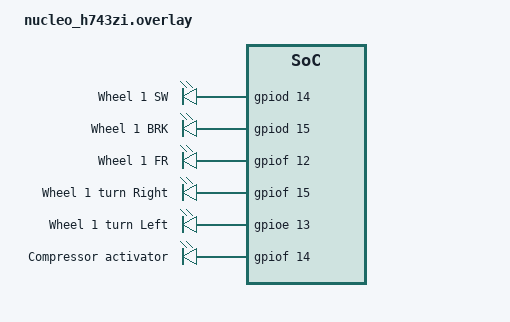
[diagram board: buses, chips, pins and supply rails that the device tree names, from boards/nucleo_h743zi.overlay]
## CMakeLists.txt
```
# SPDX-License-Identifier: Apache-2.0
set(BOARD nucleo_h743zi)
cmake_minimum_required(VERSION 3.13.1)

find_package(Zephyr REQUIRED HINTS $ENV{ZEPHYR_BASE})
project(hci_uart)

include_directories(inc)

target_sources(app PRIVATE src/main.c
        src/controls.c inc/controls.h
        )
```

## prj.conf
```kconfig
CONFIG_GPIO=y

CONFIG_CONSOLE=y
CONFIG_STDOUT_CONSOLE=y
CONFIG_UART_CONSOLE=y
CONFIG_PRINTK=y

CONFIG_SERIAL=y
CONFIG_UART_INTERRUPT_DRIVEN=y

CONFIG_BT=y
CONFIG_BT_HCI_RAW=y
CONFIG_BT_HCI_RAW_H4=y
CONFIG_BT_HCI_RAW_H4_ENABLE=y
CONFIG_BT_RX_BUF_LEN=258
CONFIG_BT_DISCARDABLE_BUF_SIZE=257
```

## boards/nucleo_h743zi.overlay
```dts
/ {
    leds {
        w_1_sw: wheel_1_sw { // D10 TODO: PWM
            gpios = <&gpiod 14 GPIO_ACTIVE_HIGH>;
            label = "Wheel 1 SW";
        };
        w_1_brk: wheel_1_brk { // D9
            gpios = <&gpiod 15 GPIO_ACTIVE_HIGH>;
            label = "Wheel 1 BRK";
        };
        w_1_fr: wheel_1_fr { // D8
            gpios = <&gpiof 12 GPIO_ACTIVE_HIGH>;
            label = "Wheel 1 FR";
        };
        w_1_tr_r: wheel_1_tr_r { // D2
            gpios = <&gpiof 15 GPIO_ACTIVE_HIGH>;
            label = "Wheel 1 turn Right";
        };
        w_1_tr_l: wheel_1_tr_l { // D3
            gpios = <&gpioe 13 GPIO_ACTIVE_HIGH>;
            label = "Wheel 1 turn Left";
        };
        compr_1: car_compressor_1 { // D4
            gpios = <&gpiof 14 GPIO_ACTIVE_HIGH>;
            label = "Compressor activator";
        };
    };
    aliases {
        wheel1-sw = &w_1_sw;
        wheel1-brk = &w_1_brk;
        wheel1-fr = &w_1_fr;
        wheel1-turn-r = &w_1_tr_r;
        wheel1-turn-l = &w_1_tr_l;
        compressor = &compr_1;
    };
};
```

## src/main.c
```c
/*
 * Copyright (c) 2016 Nordic Semiconductor ASA
 * Copyright (c) 2015-2016 Intel Corporation
 *
 * SPDX-License-Identifier: Apache-2.0
 */

#include <errno.h>
#include <stddef.h>
#include <stdio.h>
#include <stdlib.h>
#include <string.h>

#include <zephyr.h>
#include <arch/cpu.h>
#include <sys/byteorder.h>
#include <logging/log.h>
#include <sys/util.h>
#include <sys/printk.h>

#include <device.h>
#include <init.h>
#include <drivers/uart.h>
#include <drivers/gpio.h>

#include <net/buf.h>
#include <bluetooth/bluetooth.h>
#include <bluetooth/l2cap.h>
#include <bluetooth/hci.h>
#include <bluetooth/buf.h>
#include <bluetooth/hci_raw.h>

#include <controls.h>

#define LOG_MODULE_NAME hci_uart
LOG_MODULE_REGISTER(LOG_MODULE_NAME);

static const struct device *hci_uart_dev;
static K_THREAD_STACK_DEFINE(tx_thread_stack, CONFIG_BT_HCI_TX_STACK_SIZE);
static struct k_thread tx_thread_data;
static K_FIFO_DEFINE(tx_queue);

/* RX in terms of bluetooth communication */
static K_FIFO_DEFINE(uart_tx_queue);

#define H4_CMD 0x01
#define H4_ACL 0x02
#define H4_SCO 0x03
#define H4_EVT 0x04

/* Receiver states. */
#define ST_IDLE 0    /* Waiting for packet type. */
#define ST_HDR 1    /* Receiving packet header. */
#define ST_PAYLOAD 2    /* Receiving packet payload. */
#define ST_DISCARD 3    /* Dropping packet. */

/* Length of a discard/flush buffer.
 * This is sized to align with a BLE HCI packet:
 * 1 byte H:4 header + 32 bytes ACL/event data
 * Bigger values might overflow the stack since this is declared as a local
 * variable, smaller ones wdevice_get_bindingill force the caller to call into discard more
 * often. */
#define H4_DISCARD_LEN 33

static int h4_read(const struct device *uart, uint8_t *buf, size_t len) {
    int rx = uart_fifo_read(uart, buf, len);

    LOG_DBG("read %d req %d", rx, len);

    return rx;
}

static bool valid_type(uint8_t type) {
    return (type == H4_CMD) | (type == H4_ACL);
}

/* Function assumes that type is validated and only CMD or ACL will be used. */
static uint32_t get_len(const uint8_t *hdr_buf, uint8_t type) {
    return (type == BT_BUF_CMD) ?
           ((const struct bt_hci_cmd_hdr *) hdr_buf)->param_len :
           sys_le16_to_cpu(((const struct bt_hci_acl_hdr *) hdr_buf)->len);
}

/* Function assumes that type is validated and only CMD or ACL will be used. */
static int hdr_len(uint8_t type) {
    return (type == H4_CMD) ?
           sizeof(struct bt_hci_cmd_hdr) : sizeof(struct bt_hci_acl_hdr);
}

// RX (receive) interrupt handler
static void rx_isr(void) {
    static struct net_buf *buf;
    static int remaining;
    static uint8_t state;
    static uint8_t type;
    static uint8_t hdr_buf[MAX(sizeof(struct bt_hci_cmd_hdr), sizeof(struct bt_hci_acl_hdr))];
    int read;

    do {
        switch (state) {
            case ST_IDLE:
                /* Get packet type */
                read = h4_read(hci_uart_dev, &type, sizeof(type));
                /* since we read in loop until no data is in the fifo,
                 * it is possible that read = 0. */
                if (read) {
                    if (valid_type(type)) {
                        /* Get expected header size and switch
                         * to receiving header. */
                        remaining = hdr_len(type);
                        state = ST_HDR;
                    } else {
                        LOG_WRN("Unknown header %d", type);
                    }
                }
                break;
            case ST_HDR:
                read = h4_read(hci_uart_dev,
                               &hdr_buf[hdr_len(type) - remaining],
                               remaining);
                remaining -= read;
                if (remaining == 0) {
                    /* Header received. Allocate buffer and get
                     * payload length. If allocation fails leave
                     * interrupt. On failed allocation state machine
                     * is reset.
                     */
                    buf = bt_buf_get_tx(BT_BUF_H4, K_NO_WAIT, &type, sizeof(type));
                    if (!buf) {
                        state = ST_IDLE;
                        return;
                    }

                    remaining = get_len(hdr_buf, type);

                    net_buf_add_mem(buf, hdr_buf, hdr_len(type));
                    if (remaining > net_buf_tailroom(buf)) {
                        LOG_ERR("Not enough space in buffer");
                        net_buf_unref(buf);
                        state = ST_DISCARD;
                    } else {
                        state = ST_PAYLOAD;
                    }
                }
                break;
            case ST_PAYLOAD:
                read = h4_read(hci_uart_dev, net_buf_tail(buf), remaining);
                buf->len += read;
                remaining -= read;
                if (remaining == 0) {
                    /* Packet received */
                    // TODO: manage top request
                    LOG_DBG("putting RX packet in queue.");
                    net_buf_put(&tx_queue, buf);
                    state = ST_IDLE;
                }
                break;
            case ST_DISCARD: {
                uint8_t discard[H4_DISCARD_LEN];
                size_t to_read = MIN(remaining, sizeof(discard));

                read = h4_read(hci_uart_dev, discard, to_read);
                remaining -= read;
                if (remaining == 0) {
                    state = ST_IDLE;
                }
                break;
            }
            default:
                read = 0;
                __ASSERT_NO_MSG(0);
                break;
        }
    } while (read);
}

// TX (transmit) interrupt handler
static void tx_isr(void) {
    static struct net_buf *buf;
    int len;

    if (!buf) {
        buf = net_buf_get(&uart_tx_queue, K_NO_WAIT);
        if (!buf) {
            uart_irq_tx_disable(hci_uart_dev);
            return;
        }
    }

    len = uart_fifo_fill(hci_uart_dev, buf->data, buf->len);
    net_buf_pull(buf, len);
    if (!buf->len) {
        net_buf_unref(buf);
        buf = NULL;
    }
}

// main interrupt handler
static void bt_uart_isr(const struct device *unused, void *user_data) {
    ARG_UNUSED(unused);
    ARG_UNUSED(user_data);

    if (!(uart_irq_rx_ready(hci_uart_dev) || uart_irq_tx_ready(hci_uart_dev))) {
        LOG_DBG("spurious interrupt");
    }

    if (uart_irq_tx_ready(hci_uart_dev)) {
        tx_isr();
    }

    if (uart_irq_rx_ready(hci_uart_dev)) {
        rx_isr();
    }
}

static void tx_thread(void *p1, void *p2, void *p3) {
    while (1) {
        struct net_buf *buf;
        int err;

        /* Wait until a buffer is available */
        buf = net_buf_get(&tx_queue, K_FOREVER);
        /* Pass buffer to the stack */
        err = bt_send(buf);
        if (err) {
            LOG_ERR("Unable to send (err %d)", err);
            net_buf_unref(buf);
        }

        /* Give other threads a chance to run if tx_queue keeps getting
         * new data all the time. */
        k_yield();
    }
}

static int h4_send(struct net_buf *buf) {
    LOG_DBG("buf %p type %u len %u", buf, bt_buf_get_type(buf), buf->len);

    net_buf_put(&uart_tx_queue, buf);
    uart_irq_tx_enable(hci_uart_dev);

    return 0;
}

#if defined(CONFIG_BT_CTLR_ASSERT_HANDLER)
void bt_ctlr_assert_handle(char *file, uint32_t line)
{
    uint32_t len = 0U, pos = 0U;

    /* Disable interrupts, this is unrecoverable */
    (void)irq_lock();

    uart_irq_rx_disable(hci_uart_dev);
    uart_irq_tx_disable(hci_uart_dev);

    if (file) {
        while (file[len] != '\0') {
            if (file[len] == '/') {
                pos = len + 1;
            }
            len++;
        }
        file += pos;
        len -= pos;
    }

    uart_poll_out(hci_uart_dev, H4_EVT);
    /* Vendor-Specific debug event */
    uart_poll_out(hci_uart_dev, 0xff);
    /* 0xAA + strlen + \0 + 32-bit line number */
    uart_poll_out(hci_uart_dev, 1 + len + 1 + 4);
    uart_poll_out(hci_uart_dev, 0xAA);

    if (len) {
        while (*file != '\0') {
            uart_poll_out(hci_uart_dev, *file);
            file++;
        }
        uart_poll_out(hci_uart_dev, 0x00);
    }

    uart_poll_out(hci_uart_dev, line >> 0 & 0xff);
    uart_poll_out(hci_uart_dev, line >> 8 & 0xff);
    uart_poll_out(hci_uart_dev, line >> 16 & 0xff);
    uart_poll_out(hci_uart_dev, line >> 24 & 0xff);

    while (1) {
    }
}
#endif /* CONFIG_BT_CTLR_ASSERT_HANDLER */

static int hci_uart_init(const struct device *unused) {
    LOG_DBG("Bluetooth INIT");

    /* Derived from DT's bt-c2h-uart chosen node */
    hci_uart_dev = device_get_binding(CONFIG_BT_CTLR_TO_HOST_UART_DEV_NAME);
    if (!hci_uart_dev) {
        return -EINVAL;
    }

    uart_irq_rx_disable(hci_uart_dev);
    uart_irq_tx_disable(hci_uart_dev);

    uart_irq_callback_set(hci_uart_dev, bt_uart_isr);

    uart_irq_rx_enable(hci_uart_dev);
    return 0;
}

DEVICE_INIT(hci_uart, "hci_uart", &hci_uart_init, NULL, NULL,
            APPLICATION, CONFIG_KERNEL_INIT_PRIORITY_DEVICE);

void main(void) {
    /* incoming events and data from the controller */
    static K_FIFO_DEFINE(rx_queue);
    int err;

    led = device_get_binding(LED0);
    if (led == NULL) {
        return;
    }
    int ret = gpio_pin_configure(led, PIN, GPIO_OUTPUT_LOW | FLAGS);
    if (ret < 0) {
        return;
    }

    LOG_DBG("Start");
    __ASSERT(hci_uart_dev, "UART device is NULL");

    /* Enable the raw interface, this will in turn open the HCI driver */
    bt_enable_raw(&rx_queue); // opens driver

    /* Spawn the TX thread and start feeding commands and data to the
     * controller */
    k_thread_create(&tx_thread_data, tx_thread_stack, K_THREAD_STACK_SIZEOF(tx_thread_stack), tx_thread,
                    NULL, NULL, NULL, K_PRIO_COOP(7), 0, K_NO_WAIT);
    k_thread_name_set(&tx_thread_data, "HCI uart TX");

    while (1) {
        struct net_buf *buf;
        char command;
        LOG_DBG("alive");
        buf = net_buf_get(&rx_queue, K_FOREVER);
        command = buf->data[0];
        printk("Received %s reinterpret as '%c' command", (char *) buf->data, command);

        switch (command) {
            case 'D': {
                unbreak_car();
                break;
            }
            case 'd': {
                stop_car();
                break;
            }
            case 'X': {
                start_compressor();
                break;
            }
            case 'x': {
                stop_compressor();
                break;
            }
            case 'F': {
                direction = 1;
                break;
            }
            case 'B': {
                direction = 0;
                break;
            }
            case 'L': {
                turn_left();
                break;
            }
            case 'R': {
                turn_right();
                break;
            }
            case '0':
            case '1':
            case '2':
            case '3':
            case '4':
            case '5':
            case '6':
            case '7':
            case '8':
            case '9': {
                car_speed = atoi(&command);
                break;
            }
            default: {
                printk("Error: invalid command '%c'", command);
                continue;
            }
        }

        set_direction(direction);
        set_car_speed(car_speed);

        err = h4_send(buf); // put into TX queue
        if (err) {
            LOG_ERR("Failed to send");
        }
    }
}
```

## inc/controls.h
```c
#ifndef HCI_UART_CONTROLS_H
#define HCI_UART_CONTROLS_H

#include <zephyr.h>
#include <device.h>
#include <devicetree.h>
#include <drivers/gpio.h>

#define LED0_NODE DT_ALIAS(led0)

#if DT_NODE_HAS_STATUS(LED0_NODE, okay)
#define LED0    DT_GPIO_LABEL(LED0_NODE, gpios)
#define PIN        DT_GPIO_PIN(LED0_NODE, gpios)
#define FLAGS    DT_GPIO_FLAGS(LED0_NODE, gpios)
#else
/* A build error here means your board isn't set up to blink an LED. */
#error "Unsupported board: led0 devicetree alias is not defined"
#define LED0    ""
#define PIN    0
#define FLAGS    0
#endif


#define WHEEL1_SW_NODE DT_ALIAS(wheel1_sw)

#if DT_NODE_HAS_STATUS(WHEEL1_SW_NODE, okay)
#define WHEEL1_SW           DT_GPIO_LABEL(WHEEL1_SW_NODE, gpios)
#define WHEEL1_SW_PIN       DT_GPIO_PIN(WHEEL1_SW_NODE, gpios)
#define WHEEL1_SW_FLAGS     DT_GPIO_FLAGS(WHEEL1_SW_NODE, gpios)
#else
/* A build error here means your board isn't set up to blink an LED. */
#error "Unsupported board: WHEEL1_NODE devicetree alias is not defined"
#define WHEEL1_SW	""
#define WHEEL1_SW_PIN	0
#define WHEEL1_SW_FLAGS	0
#endif


#define WHEEL1_BRK_NODE DT_ALIAS(wheel1_brk)

#if DT_NODE_HAS_STATUS(WHEEL1_BRK_NODE, okay)
#define WHEEL1_BRK    DT_GPIO_LABEL(WHEEL1_BRK_NODE, gpios)
#define WHEEL1_BRK_PIN        DT_GPIO_PIN(WHEEL1_BRK_NODE, gpios)
#define WHEEL1_BRK_FLAGS    DT_GPIO_FLAGS(WHEEL1_BRK_NODE, gpios)
#else
/* A build error here means your board isn't set up to blink an LED. */
#error "Unsupported board: WHEEL1_NODE devicetree alias is not defined"
#define WHEEL1_BRK	""
#define WHEEL1_BRK_PIN	0
#define WHEEL1_BRK_FLAGS	0
#endif

#define WHEEL1_FR_NODE DT_ALIAS(wheel1_fr)

#if DT_NODE_HAS_STATUS(WHEEL1_FR_NODE, okay)
#define WHEEL1_FR    DT_GPIO_LABEL(WHEEL1_FR_NODE, gpios)
#define WHEEL1_FR_PIN        DT_GPIO_PIN(WHEEL1_FR_NODE, gpios)
#define WHEEL1_FR_FLAGS    DT_GPIO_FLAGS(WHEEL1_FR_NODE, gpios)
#else
/* A build error here means your board isn't set up to blink an LED. */
#error "Unsupported board: WHEEL1_NODE devicetree alias is not defined"
#define WHEEL1_FR	    ""
#define WHEEL1_FR_PIN	0
#define WHEEL1_FR_FLAGS	0
#endif

#define WHEEL1_TR_L_NODE DT_ALIAS(wheel1_turn_l)

#if DT_NODE_HAS_STATUS(WHEEL1_TR_L_NODE, okay)
#define WHEEL1_TR_L    DT_GPIO_LABEL(WHEEL1_TR_L_NODE, gpios)
#define WHEEL1_TR_L_PIN        DT_GPIO_PIN(WHEEL1_TR_L_NODE, gpios)
#define WHEEL1_TR_L_FLAGS    DT_GPIO_FLAGS(WHEEL1_TR_L_NODE, gpios)
#else
/* A build error here means your board isn't set up to blink an LED. */
#error "Unsupported board: WHEEL1_NODE devicetree alias is not defined"
#define WHEEL1_TR_L	    ""
#define WHEEL1_TR_L_PIN	0
#define WHEEL1_TR_L_FLAGS	0
#endif


#define WHEEL1_TR_R_NODE DT_ALIAS(wheel1_turn_r)

#if DT_NODE_HAS_STATUS(WHEEL1_TR_R_NODE, okay)
#define WHEEL1_TR_R    DT_GPIO_LABEL(WHEEL1_TR_R_NODE, gpios)
#define WHEEL1_TR_R_PIN        DT_GPIO_PIN(WHEEL1_TR_R_NODE, gpios)
#define WHEEL1_TR_R_FLAGS    DT_GPIO_FLAGS(WHEEL1_TR_R_NODE, gpios)
#else
/* A build error here means your board isn't set up to blink an LED. */
#error "Unsupported board: WHEEL1_NODE devicetree alias is not defined"
#define WHEEL1_TR_R	    ""
#define WHEEL1_TR_R_PIN	0
#define WHEEL1_TR_R_FLAGS	0
#endif

#define COMPRESOR1_NODE DT_ALIAS(compressor)

#if DT_NODE_HAS_STATUS(COMPRESOR1_NODE, okay)
#define COMPRESOR1    DT_GPIO_LABEL(COMPRESOR1_NODE, gpios)
#define COMPRESOR1_PIN        DT_GPIO_PIN(COMPRESOR1_NODE, gpios)
#define COMPRESOR1_FLAGS    DT_GPIO_FLAGS(COMPRESOR1_NODE, gpios)
#else
/* A build error here means your board isn't set up to blink an LED. */
#error "Unsupported board: WHEEL1_NODE devicetree alias is not defined"
#define COMPRESOR1	    ""
#define COMPRESOR1_PIN	0
#define COMPRESOR1_FLAGS	0
#endif

extern const struct device *led, *wheel1_sw, *wheel1_brk, *wheel1_fr,
        *wheel1_tr_l, *wheel1_tr_r, *compresor_1;

extern int car_speed;
extern uint8_t direction;
extern uint8_t car_enabled;
extern uint8_t rotating;
extern uint8_t rotating_direction;

void gpio_init_controls();

void stop_car();

void unbreak_car();

void set_direction(uint8_t dir);

void set_car_speed(uint8_t speed);

void start_compressor();

void stop_compressor();

void turn_left();

void turn_right();


#endif //HCI_UART_CONTROLS_H
```

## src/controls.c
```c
#include "controls.h"


const struct device *led, *wheel1_sw, *wheel1_brk, *wheel1_fr, *wheel1_tr_l, *wheel1_tr_r, *compresor_1;

int car_speed = 0;
uint8_t direction = 1;
uint8_t car_enabled = 1;
uint8_t rotating = 0;
uint8_t rotating_direction = 0;

void gpio_init_controls() {
    int ret;

    led = device_get_binding(LED0);
    if (led == NULL) {
        return;
    }
    ret = gpio_pin_configure(led, PIN, GPIO_OUTPUT_ACTIVE | FLAGS);
    if (ret < 0) {
        return;
    }

    wheel1_sw = device_get_binding(WHEEL1_SW);
    if (wheel1_sw == NULL) {
        return;
    }
    ret = gpio_pin_configure(wheel1_sw, WHEEL1_SW_PIN, GPIO_OUTPUT_ACTIVE | WHEEL1_SW_FLAGS);
    if (ret < 0) {
        return;
    }

    wheel1_brk = device_get_binding(WHEEL1_BRK);
    if (wheel1_brk == NULL) {
        return;
    }
    ret = gpio_pin_configure(wheel1_brk, WHEEL1_BRK_PIN, GPIO_OUTPUT_INACTIVE | WHEEL1_BRK_FLAGS);
    if (ret < 0) {
        return;
    }

    wheel1_fr = device_get_binding(WHEEL1_FR);
    if (wheel1_fr == NULL) {
        return;
    }
    ret = gpio_pin_configure(wheel1_fr, WHEEL1_FR_PIN, GPIO_OUTPUT_INACTIVE | WHEEL1_FR_FLAGS);
    if (ret < 0) {
        return;
    }

    wheel1_tr_l = device_get_binding(WHEEL1_TR_L);
    if (wheel1_tr_l == NULL) {
        return;
    }
    ret = gpio_pin_configure(wheel1_tr_l, WHEEL1_TR_L_PIN, GPIO_OUTPUT_INACTIVE | WHEEL1_TR_L_FLAGS);
    if (ret < 0) {
        return;
    }

    wheel1_tr_r = device_get_binding(WHEEL1_TR_R);
    if (wheel1_tr_r == NULL) {
        return;
    }
    ret = gpio_pin_configure(wheel1_tr_r, WHEEL1_TR_R_PIN, GPIO_OUTPUT_INACTIVE | WHEEL1_TR_R_FLAGS);
    if (ret < 0) {
        return;
    }

    compresor_1 = device_get_binding(COMPRESOR1);
    if (compresor_1 == NULL) {
        return;
    }
    ret = gpio_pin_configure(compresor_1, COMPRESOR1_PIN, GPIO_OUTPUT_INACTIVE | COMPRESOR1_FLAGS);
    if (ret < 0) {
        return;
    }
}

void stop_car() {
    car_enabled = 0;
    gpio_pin_set(wheel1_brk, WHEEL1_BRK_PIN, (int) false);
}

void unbreak_car() {
    car_enabled = 1;
    gpio_pin_set(wheel1_brk, WHEEL1_BRK_PIN, (int) true);
}

void set_direction(uint8_t dir) {
    if (dir == 0) {
        gpio_pin_set(wheel1_fr, WHEEL1_FR_PIN, (int) false);
    } else {
        gpio_pin_set(wheel1_fr, WHEEL1_FR_PIN, (int) true);
    }
}

void set_car_speed(uint8_t speed) {
    if (car_enabled == 0) return;
    if (speed > 0) {
        gpio_pin_set(wheel1_sw, WHEEL1_SW_PIN, (int) true);
    } else {
        gpio_pin_set(wheel1_sw, WHEEL1_SW_PIN, (int) false);
    }
//    TIM1->CCR1 = speed;
}

void start_compressor() { // TODO: change pin
    gpio_pin_set(compresor_1, COMPRESOR1_PIN, (int) true);
}

void stop_compressor() {
    gpio_pin_set(compresor_1, COMPRESOR1_PIN, (int) false);
}

void turn_left() {
    gpio_pin_set(wheel1_tr_l, WHEEL1_TR_L_PIN, (int) true);
    gpio_pin_set(wheel1_tr_r, WHEEL1_TR_R_PIN, (int) false);
    k_msleep(30);
    gpio_pin_set(wheel1_tr_l, WHEEL1_TR_L_PIN, (int) true);
    gpio_pin_set(wheel1_tr_r, WHEEL1_TR_R_PIN, (int) true);
}

void turn_right() {
    gpio_pin_set(wheel1_tr_l, WHEEL1_TR_L_PIN, (int) false);
    gpio_pin_set(wheel1_tr_r, WHEEL1_TR_R_PIN, (int) true);
    k_msleep(30);
    gpio_pin_set(wheel1_tr_l, WHEEL1_TR_L_PIN, (int) true);
    gpio_pin_set(wheel1_tr_r, WHEEL1_TR_R_PIN, (int) true);
}
```
